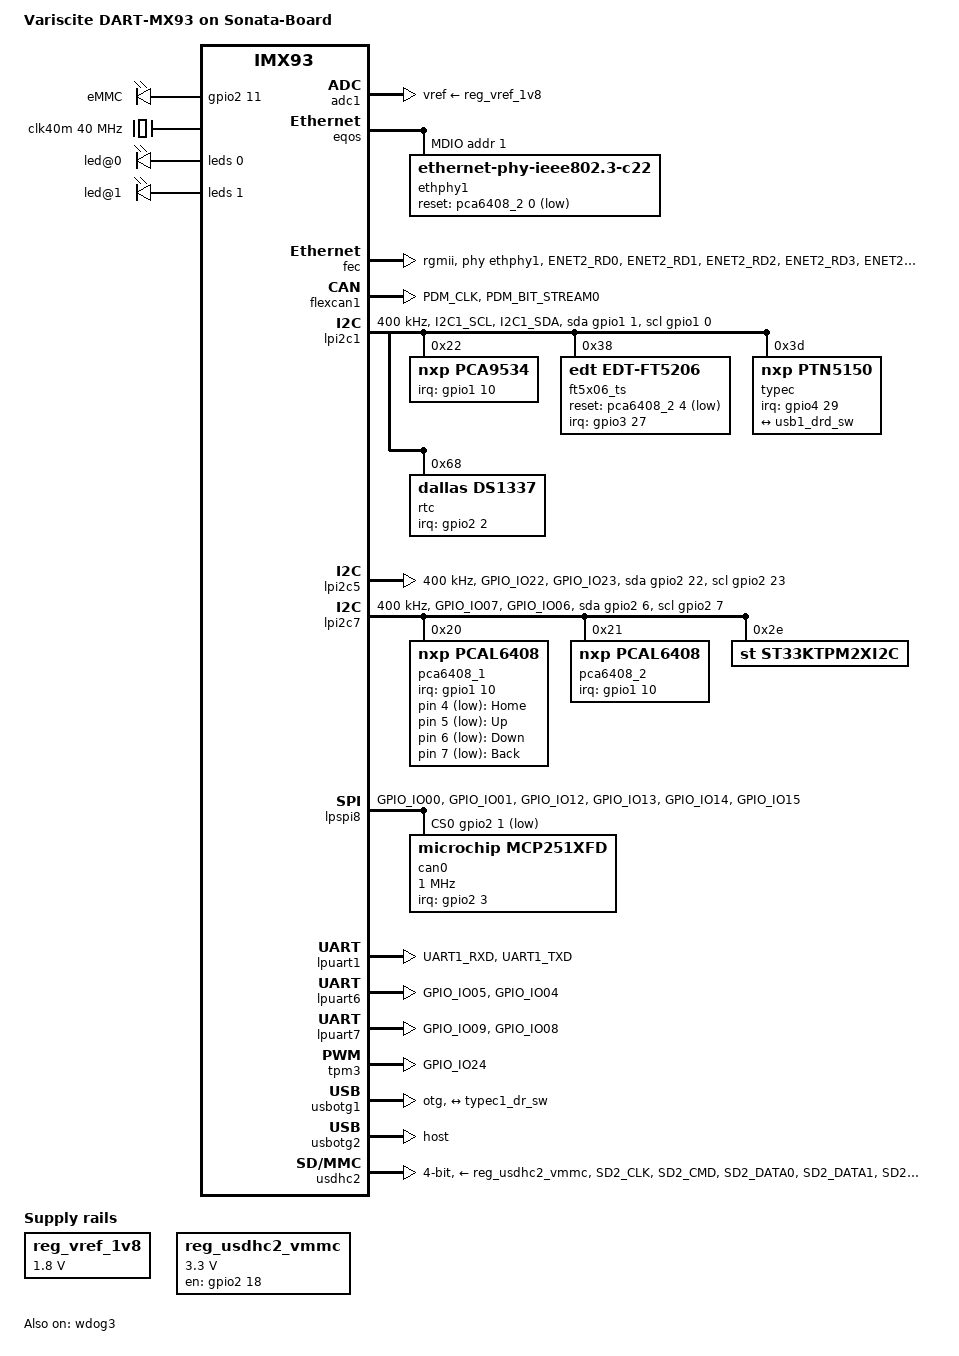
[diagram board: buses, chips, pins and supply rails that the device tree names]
// SPDX-License-Identifier: (GPL-2.0+ OR MIT)
/*
 * Variscite Sonata carrier board for DART-MX93
 *
 * Link: https://variscite.com/carrier-boards/sonata-board/
 *
 * Copyright (C) 2026 Variscite Ltd. - https://www.variscite.com/
 *
 */

/dts-v1/;

#include <dt-bindings/leds/common.h>
#include "imx93-var-dart.dtsi"

/ {
	model = "Variscite DART-MX93 on Sonata-Board";
	compatible = "variscite,var-dart-mx93-sonata",
		     "variscite,var-dart-mx93",
		     "fsl,imx93";

	aliases {
		ethernet0 = &eqos;
		ethernet1 = &fec;
		gpio0 = &gpio1;
		gpio1 = &gpio2;
		gpio2 = &gpio3;
		i2c0 = &lpi2c1;
		i2c1 = &lpi2c2;
		i2c2 = &lpi2c3;
		i2c3 = &lpi2c4;
		i2c4 = &lpi2c5;
		mmc0 = &usdhc1;
		mmc1 = &usdhc2;
		serial0 = &lpuart1;
		serial1 = &lpuart2;
		serial2 = &lpuart3;
		serial3 = &lpuart4;
		serial4 = &lpuart5;
		serial5 = &lpuart6;
		serial6 = &lpuart7;
	};

	chosen {
		stdout-path = &lpuart1;
	};

	gpio-keys {
		compatible = "gpio-keys";

		button-home {
			label = "Home";
			linux,code = <KEY_HOME>;
			gpios = <&pca6408_1 4 GPIO_ACTIVE_LOW>;
			wakeup-source;
		};

		button-up {
			label = "Up";
			linux,code = <KEY_UP>;
			gpios = <&pca6408_1 5 GPIO_ACTIVE_LOW>;
			wakeup-source;
		};

		button-down {
			label = "Down";
			linux,code = <KEY_DOWN>;
			gpios = <&pca6408_1 6 GPIO_ACTIVE_LOW>;
			wakeup-source;
		};

		button-back {
			label = "Back";
			linux,code = <KEY_BACK>;
			gpios = <&pca6408_1 7 GPIO_ACTIVE_LOW>;
			wakeup-source;
		};
	};

	gpio-leds {
		compatible = "gpio-leds";
		pinctrl-names = "default";
		pinctrl-0 = <&pinctrl_leds_gpio>;

		led-emmc {
			gpios = <&gpio2 11 GPIO_ACTIVE_HIGH>;
			label = "eMMC";
			linux,default-trigger = "mmc0";
		};
	};

	clk40m: oscillator {
		compatible = "fixed-clock";
		#clock-cells = <0>;
		clock-frequency = <40000000>;
		clock-output-names = "can_osc";
	};

	reg_vref_1v8: regulator-adc-vref {
		compatible = "regulator-fixed";
		regulator-name = "vref_1v8";
		regulator-max-microvolt = <1800000>;
		regulator-min-microvolt = <1800000>;
	};

	reg_usdhc2_vmmc: regulator-vmmc-usdhc2 {
		compatible = "regulator-fixed";
		regulator-name = "VDD_SD2_3V3";
		off-on-delay-us = <20000>;
		pinctrl-0 = <&pinctrl_reg_usdhc2_vmmc>;
		pinctrl-names = "default";
		regulator-max-microvolt = <3300000>;
		regulator-min-microvolt = <3300000>;
		gpio = <&gpio2 18 GPIO_ACTIVE_HIGH>;
		enable-active-high;
	};

	reserved-memory {
		#address-cells = <2>;
		#size-cells = <2>;
		ranges;

		ethosu_mem: ethosu-region@88000000 {
			compatible = "shared-dma-pool";
			reusable;
			reg = <0x0 0x88000000 0x0 0x8000000>;
		};

		vdev0vring0: vdev0vring0@87ee0000 {
			reg = <0 0x87ee0000 0 0x8000>;
			no-map;
		};

		vdev0vring1: vdev0vring1@87ee8000 {
			reg = <0 0x87ee8000 0 0x8000>;
			no-map;
		};

		vdev1vring0: vdev1vring0@87ef0000 {
			reg = <0 0x87ef0000 0 0x8000>;
			no-map;
		};

		vdev1vring1: vdev1vring1@87ef8000 {
			reg = <0 0x87ef8000 0 0x8000>;
			no-map;
		};

		rsc_table: rsc-table@2021e000 {
			reg = <0 0x2021e000 0 0x1000>;
			no-map;
		};

		vdevbuffer: vdevbuffer@87f00000 {
			compatible = "shared-dma-pool";
			reg = <0 0x87f00000 0 0x100000>;
			no-map;
		};

		ele_reserved: ele-reserved@87de0000 {
			compatible = "shared-dma-pool";
			reg = <0 0x87de0000 0 0x100000>;
			no-map;
		};
	};
};

&adc1 {
	vref-supply = <&reg_vref_1v8>;
	status = "okay";
};

/* Use external instead of internal RTC */
&bbnsm_rtc {
	status = "disabled";
};

&eqos {
	mdio {
		ethphy1: ethernet-phy@1 {
			compatible = "ethernet-phy-ieee802.3-c22";
			reg = <1>;
			reset-assert-us = <15000>;
			reset-deassert-us = <100000>;
			reset-gpios = <&pca6408_2 0 GPIO_ACTIVE_LOW>;

			leds {
				#address-cells = <1>;
				#size-cells = <0>;

				led@0 {
					reg = <0>;
					color = <LED_COLOR_ID_YELLOW>;
					function = LED_FUNCTION_LAN;
					linux,default-trigger = "netdev";
				};

				led@1 {
					reg = <1>;
					color = <LED_COLOR_ID_GREEN>;
					function = LED_FUNCTION_LAN;
					linux,default-trigger = "netdev";
				};
			};
		};
	};
};

&ethphy0 {
	leds {
		#address-cells = <1>;
		#size-cells = <0>;

		led@0 {
			reg = <0>;
			color = <LED_COLOR_ID_YELLOW>;
			function = LED_FUNCTION_LAN;
			linux,default-trigger = "netdev";
		};

		led@1 {
			reg = <1>;
			color = <LED_COLOR_ID_GREEN>;
			function = LED_FUNCTION_LAN;
			linux,default-trigger = "netdev";
		};
	};
};

&fec {
	pinctrl-names = "default", "sleep";
	pinctrl-0 = <&pinctrl_fec>;
	pinctrl-1 = <&pinctrl_fec_sleep>;
	/*
	 * The required RGMII TX and RX 2ns delays are implemented directly
	 * in hardware via passive delay elements on the SOM PCB.
	 * No delay configuration is needed in software via PHY driver.
	 */
	phy-mode = "rgmii";
	phy-handle = <&ethphy1>;
	status = "okay";
};

&flexcan1 {
	pinctrl-names = "default";
	pinctrl-0 = <&pinctrl_flexcan1>;
	status = "okay";
};

&lpi2c1 {
	clock-frequency = <400000>;
	pinctrl-0 = <&pinctrl_lpi2c1>;
	pinctrl-1 = <&pinctrl_lpi2c1_gpio>;
	pinctrl-2 = <&pinctrl_lpi2c1_gpio>;
	pinctrl-names = "default", "sleep", "gpio";
	scl-gpios = <&gpio1 0 (GPIO_ACTIVE_HIGH | GPIO_OPEN_DRAIN)>;
	sda-gpios = <&gpio1 1 (GPIO_ACTIVE_HIGH | GPIO_OPEN_DRAIN)>;
	status = "okay";

	pca9534: gpio@22 {
		compatible = "nxp,pca9534";
		reg = <0x22>;
		gpio-controller;
		#gpio-cells = <2>;
		interrupt-parent = <&gpio1>;
		interrupts = <10 IRQ_TYPE_LEVEL_LOW>;
	};

	/* Capacitive touch controller */
	ft5x06_ts: touchscreen@38 {
		compatible = "edt,edt-ft5206";
		reg = <0x38>;
		interrupt-parent = <&gpio3>;
		interrupts = <27 IRQ_TYPE_EDGE_FALLING>;
		pinctrl-0 = <&pinctrl_captouch>;
		pinctrl-names = "default";
		reset-gpios = <&pca6408_2 4 GPIO_ACTIVE_LOW>;
		touchscreen-inverted-x;
		touchscreen-inverted-y;
		touchscreen-size-x = <800>;
		touchscreen-size-y = <480>;
		wakeup-source;
	};

	/* USB Type-C Controller */
	typec@3d {
		compatible = "nxp,ptn5150";
		reg = <0x3d>;
		interrupt-parent = <&gpio4>;
		interrupts = <29 IRQ_TYPE_LEVEL_HIGH>;
		pinctrl-0 = <&pinctrl_extcon>;
		pinctrl-names = "default";

		port {
			typec1_dr_sw: endpoint {
				remote-endpoint = <&usb1_drd_sw>;
			};
		};
	};

	rtc@68 {
		compatible = "dallas,ds1337";
		reg = <0x68>;
		interrupt-parent = <&gpio2>;
		interrupts = <2 IRQ_TYPE_EDGE_FALLING>;
		pinctrl-names = "default";
		pinctrl-0 = <&pinctrl_rtc>;
		wakeup-source;
	};
};

&lpi2c5 {
	clock-frequency = <400000>;
	pinctrl-names = "default", "sleep", "gpio";
	pinctrl-0 = <&pinctrl_lpi2c5>;
	pinctrl-1 = <&pinctrl_lpi2c5_gpio>;
	pinctrl-2 = <&pinctrl_lpi2c5_gpio>;
	scl-gpios = <&gpio2 23 (GPIO_ACTIVE_HIGH | GPIO_OPEN_DRAIN)>;
	sda-gpios = <&gpio2 22 (GPIO_ACTIVE_HIGH | GPIO_OPEN_DRAIN)>;
	status = "okay";
};

&lpi2c7 {
	clock-frequency = <400000>;
	pinctrl-names = "default", "sleep", "gpio";
	pinctrl-0 = <&pinctrl_lpi2c7>;
	pinctrl-1 = <&pinctrl_lpi2c7_gpio>;
	pinctrl-2 = <&pinctrl_lpi2c7_gpio>;
	scl-gpios = <&gpio2 7 (GPIO_ACTIVE_HIGH | GPIO_OPEN_DRAIN)>;
	sda-gpios = <&gpio2 6 (GPIO_ACTIVE_HIGH | GPIO_OPEN_DRAIN)>;
	status = "okay";

	pca6408_1: gpio@20 {
		compatible = "nxp,pcal6408";
		reg = <0x20>;
		gpio-controller;
		#gpio-cells = <2>;
		interrupt-parent = <&gpio1>;
		interrupts = <10 IRQ_TYPE_LEVEL_LOW>;
	};

	pca6408_2: gpio@21 {
		compatible = "nxp,pcal6408";
		reg = <0x21>;
		gpio-controller;
		#gpio-cells = <2>;
		interrupt-parent = <&gpio1>;
		interrupts = <10 IRQ_TYPE_LEVEL_LOW>;
	};

	st33ktpm2xi2c: tpm@2e {
		compatible = "st,st33ktpm2xi2c", "tcg,tpm-tis-i2c";
		reg = <0x2e>;
	};
};

&lpspi8 {
	pinctrl-names = "default";
	pinctrl-0 = <&pinctrl_lpspi8>;
	cs-gpios = <&gpio2 1 GPIO_ACTIVE_LOW>;
	status = "okay";

	/* CAN controller */
	can0: can@0 {
		compatible = "microchip,mcp251xfd";
		reg = <0>;
		clocks = <&clk40m>;
		interrupt-parent = <&gpio2>;
		interrupts = <3 IRQ_TYPE_LEVEL_LOW>;
		pinctrl-names = "default";
		pinctrl-0 = <&pinctrl_can>;
		spi-max-frequency = <1000000>;
	};
};

/* Console (J10) */
&lpuart1 {
	pinctrl-names = "default";
	pinctrl-0 = <&pinctrl_uart1>;
	status = "okay";
};

/* Header (J12.4, J12.6) */
&lpuart6 {
	pinctrl-names = "default";
	pinctrl-0 = <&pinctrl_uart6>;
	status = "okay";
};

/* Header (J12.11, J12.13) */
&lpuart7 {
	pinctrl-names = "default";
	pinctrl-0 = <&pinctrl_uart7>;
	status = "okay";
};

&tpm3 {
	pinctrl-0 = <&pinctrl_tpm3>;
	pinctrl-names = "default";
	status = "okay";
};

&usbotg1 {
	dr_mode = "otg";
	hnp-disable;
	srp-disable;
	adp-disable;
	usb-role-switch;
	disable-over-current;
	samsung,picophy-pre-emp-curr-control = <3>;
	samsung,picophy-dc-vol-level-adjust = <7>;
	status = "okay";

	port {
		usb1_drd_sw: endpoint {
			remote-endpoint = <&typec1_dr_sw>;
		};
	};
};

&usbotg2 {
	disable-over-current;
	dr_mode = "host";
	status = "okay";
};

/* SD */
&usdhc2 {
	pinctrl-names = "default", "state_100mhz", "state_200mhz";
	pinctrl-0 = <&pinctrl_usdhc2>, <&pinctrl_usdhc2_gpio>;
	pinctrl-1 = <&pinctrl_usdhc2_100mhz>, <&pinctrl_usdhc2_gpio>;
	pinctrl-2 = <&pinctrl_usdhc2_200mhz>, <&pinctrl_usdhc2_gpio>;
	cd-gpios = <&gpio3 0 GPIO_ACTIVE_LOW>;
	vmmc-supply = <&reg_usdhc2_vmmc>;
	bus-width = <4>;
	no-sdio;
	no-mmc;
	status = "okay";
};

&wdog3 {
	status = "okay";
};

&iomuxc {
	pinctrl-names = "default";
	pinctrl-0 = <&pinctrl_hog>;

	pinctrl_can: cangrp {
		fsl,pins = <
			MX93_PAD_GPIO_IO03__GPIO2_IO03			0x31e
		>;
	};

	pinctrl_captouch: captouchgrp {
		fsl,pins = <
			MX93_PAD_CCM_CLKO2__GPIO3_IO27			0x31e
		>;
	};

	pinctrl_extcon: extcongrp {
		fsl,pins = <
			MX93_PAD_CCM_CLKO4__GPIO4_IO29			0x31e
		>;
	};

	pinctrl_fec: fecgrp {
		fsl,pins = <
			MX93_PAD_ENET2_RD0__ENET1_RGMII_RD0		0x57e
			MX93_PAD_ENET2_RD1__ENET1_RGMII_RD1		0x57e
			MX93_PAD_ENET2_RD2__ENET1_RGMII_RD2		0x57e
			MX93_PAD_ENET2_RD3__ENET1_RGMII_RD3		0x37e
			MX93_PAD_ENET2_RXC__ENET1_RGMII_RXC		0x58e
			MX93_PAD_ENET2_RX_CTL__ENET1_RGMII_RX_CTL	0x57e
			MX93_PAD_ENET2_TD0__ENET1_RGMII_TD0		0x57e
			MX93_PAD_ENET2_TD1__ENET1_RGMII_TD1		0x57e
			MX93_PAD_ENET2_TD2__ENET1_RGMII_TD2		0x57e
			MX93_PAD_ENET2_TD3__ENET1_RGMII_TD3		0x57e
			MX93_PAD_ENET2_TXC__ENET1_RGMII_TXC		0x58e
			MX93_PAD_ENET2_TX_CTL__ENET1_RGMII_TX_CTL	0x57e
		>;
	};

	pinctrl_fec_sleep: fecsleepgrp {
		fsl,pins = <
			MX93_PAD_ENET2_RD0__GPIO4_IO24			0x51e
			MX93_PAD_ENET2_RD1__GPIO4_IO25			0x51e
			MX93_PAD_ENET2_RD2__GPIO4_IO26			0x51e
			MX93_PAD_ENET2_RD3__GPIO4_IO27			0x51e
			MX93_PAD_ENET2_RXC__GPIO4_IO23			0x51e
			MX93_PAD_ENET2_RX_CTL__GPIO4_IO22		0x51e
			MX93_PAD_ENET2_TD0__GPIO4_IO19			0x51e
			MX93_PAD_ENET2_TD1__GPIO4_IO18			0x51e
			MX93_PAD_ENET2_TD2__GPIO4_IO17			0x51e
			MX93_PAD_ENET2_TD3__GPIO4_IO16			0x51e
			MX93_PAD_ENET2_TXC__GPIO4_IO21			0x51e
			MX93_PAD_ENET2_TX_CTL__GPIO4_IO20		0x51e
		>;
	};

	pinctrl_flexcan1: flexcan1grp {
		fsl,pins = <
			MX93_PAD_PDM_CLK__CAN1_TX			0x139e
			MX93_PAD_PDM_BIT_STREAM0__CAN1_RX		0x139e
		>;
	};

	pinctrl_hog: hoggrp {
		fsl,pins = <
			/* GPIO Expanders shared IRQ */
			MX93_PAD_PDM_BIT_STREAM1__GPIO1_IO10            0x31e
		>;
	};

	pinctrl_leds_gpio: ledgrp {
		fsl,pins = <
			MX93_PAD_GPIO_IO11__GPIO2_IO11			0x31e
		>;
	};

	pinctrl_lpi2c1: lpi2c1grp {
		fsl,pins = <
			MX93_PAD_I2C1_SCL__LPI2C1_SCL			0x40000b9e
			MX93_PAD_I2C1_SDA__LPI2C1_SDA			0x40000b9e
		>;
	};

	pinctrl_lpi2c1_gpio: lpi2c1-gpiogrp {
		fsl,pins = <
			MX93_PAD_I2C1_SCL__GPIO1_IO00			0x31e
			MX93_PAD_I2C1_SDA__GPIO1_IO01			0x31e
		>;
	};

	pinctrl_lpi2c5: lpi2c5grp {
		fsl,pins = <
			MX93_PAD_GPIO_IO22__LPI2C5_SDA			0x40000b9e
			MX93_PAD_GPIO_IO23__LPI2C5_SCL			0x40000b9e
		>;
	};

	pinctrl_lpi2c5_gpio: lpi2c5-gpiogrp {
		fsl,pins = <
			MX93_PAD_GPIO_IO22__GPIO2_IO22			0x31e
			MX93_PAD_GPIO_IO23__GPIO2_IO23			0x31e
		>;
	};

	pinctrl_lpi2c7: lpi2c7grp {
		fsl,pins = <
			MX93_PAD_GPIO_IO07__LPI2C7_SCL			0x40000b9e
			MX93_PAD_GPIO_IO06__LPI2C7_SDA			0x40000b9e
		>;
	};

	pinctrl_lpi2c7_gpio: lpi2c7-gpiogrp {
		fsl,pins = <
			MX93_PAD_GPIO_IO07__GPIO2_IO07			0x31e
			MX93_PAD_GPIO_IO06__GPIO2_IO06			0x31e
		>;
	};

	pinctrl_lpspi8: lpspi8grp {
		fsl,pins = <
			MX93_PAD_GPIO_IO00__GPIO2_IO00			0x31e
			MX93_PAD_GPIO_IO01__GPIO2_IO01			0x31e
			MX93_PAD_GPIO_IO12__GPIO2_IO12			0x31e
			MX93_PAD_GPIO_IO13__LPSPI8_SIN			0x31e
			MX93_PAD_GPIO_IO14__LPSPI8_SOUT			0x31e
			MX93_PAD_GPIO_IO15__LPSPI8_SCK			0x31e
		>;
	};

	pinctrl_reg_usdhc2_vmmc: regusdhc2vmmcgrp {
		fsl,pins = <
			MX93_PAD_CCM_CLKO3__GPIO4_IO28			0x31e
		>;
	};

	pinctrl_rtc: rtcgrp {
		fsl,pins = <
			MX93_PAD_GPIO_IO02__GPIO2_IO02			0x31e
		>;
	};

	pinctrl_tpm3: tpm3grp {
		fsl,pins = <
			MX93_PAD_GPIO_IO24__TPM3_CH3			0x51e
		>;
	};

	pinctrl_uart1: uart1grp {
		fsl,pins = <
			MX93_PAD_UART1_RXD__LPUART1_RX			0x31e
			MX93_PAD_UART1_TXD__LPUART1_TX			0x31e
		>;
	};

	pinctrl_uart6: uart6grp {
		fsl,pins = <
			MX93_PAD_GPIO_IO05__LPUART6_RX			0x31e
			MX93_PAD_GPIO_IO04__LPUART6_TX			0x31e
		>;
	};

	pinctrl_uart7: uart7grp {
		fsl,pins = <
			MX93_PAD_GPIO_IO09__LPUART7_RX			0x31e
			MX93_PAD_GPIO_IO08__LPUART7_TX			0x31e
		>;
	};

	pinctrl_usdhc2: usdhc2grp {
		fsl,pins = <
			MX93_PAD_SD2_CLK__USDHC2_CLK			0x1582
			MX93_PAD_SD2_CMD__USDHC2_CMD			0x40001382
			MX93_PAD_SD2_DATA0__USDHC2_DATA0		0x40001382
			MX93_PAD_SD2_DATA1__USDHC2_DATA1		0x40001382
			MX93_PAD_SD2_DATA2__USDHC2_DATA2		0x40001382
			MX93_PAD_SD2_DATA3__USDHC2_DATA3		0x40001382
			MX93_PAD_SD2_VSELECT__USDHC2_VSELECT		0x51e
		>;
	};

	pinctrl_usdhc2_100mhz: usdhc2-100mhzgrp {
		fsl,pins = <
			MX93_PAD_SD2_CLK__USDHC2_CLK			0x158e
			MX93_PAD_SD2_CMD__USDHC2_CMD			0x4000138e
			MX93_PAD_SD2_DATA0__USDHC2_DATA0		0x4000138e
			MX93_PAD_SD2_DATA1__USDHC2_DATA1		0x4000138e
			MX93_PAD_SD2_DATA2__USDHC2_DATA2		0x4000138e
			MX93_PAD_SD2_DATA3__USDHC2_DATA3		0x4000138e
			MX93_PAD_SD2_VSELECT__USDHC2_VSELECT		0x51e
		>;
	};

	pinctrl_usdhc2_200mhz: usdhc2-200mhzgrp {
		fsl,pins = <
			MX93_PAD_SD2_CLK__USDHC2_CLK			0x15fe
			MX93_PAD_SD2_CMD__USDHC2_CMD			0x400013fe
			MX93_PAD_SD2_DATA0__USDHC2_DATA0		0x400013fe
			MX93_PAD_SD2_DATA1__USDHC2_DATA1		0x400013fe
			MX93_PAD_SD2_DATA2__USDHC2_DATA2		0x400013fe
			MX93_PAD_SD2_DATA3__USDHC2_DATA3		0x400013fe
			MX93_PAD_SD2_VSELECT__USDHC2_VSELECT		0x51e
		>;
	};

	pinctrl_usdhc2_gpio: usdhc2gpiogrp {
		fsl,pins = <
			MX93_PAD_SD2_CD_B__GPIO3_IO00			0x31e
		>;
	};
};
